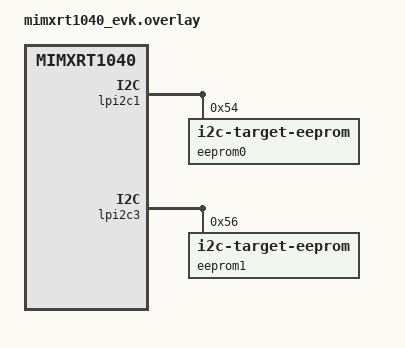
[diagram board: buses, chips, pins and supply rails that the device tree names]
/*
 * Copyright 2023 NXP
 *
 * SPDX-License-Identifier: Apache-2.0
 */


/*
 * Note: this sample requires the board to be modified! Populate resistors
 * R362 and R356.
 * To test this sample, connect J17.9<->J17.3 (SDA), J17.10<->J17.6 (SCL)
 */


&lpi2c1 {
	status = "okay";
	eeprom0: eeprom@54 {
		compatible = "zephyr,i2c-target-eeprom";
		reg = <0x54>;
		size = <256>;
	};
};

&lpi2c3 {
	status = "okay";
	eeprom1: eeprom@56 {
		compatible = "zephyr,i2c-target-eeprom";
		reg = <0x56>;
		size = <256>;
	};
};
